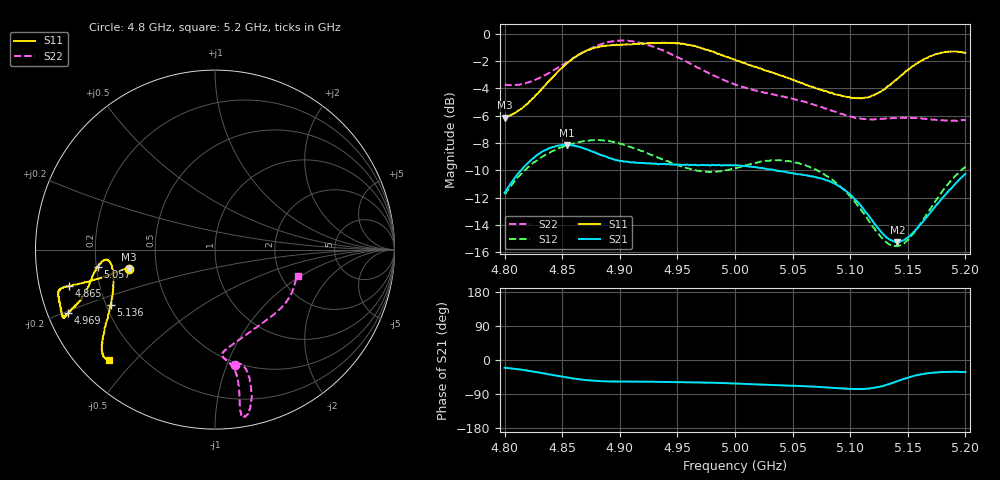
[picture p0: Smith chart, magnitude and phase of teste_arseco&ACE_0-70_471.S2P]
! Network Analyzer HP8722D
! Hewlett-Packard
! Data name: Linha & Wilkinson
! Saver's name: Rodrigo Anjos
! Comments: Teste da utilização de aquisição
! continua pelo VNA HP8722D
! Time and date: 8/5/2025 16:41
!  Frequency  S11  S21  S12  S22
# HZ  S  MA R 50
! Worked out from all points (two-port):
!   401 points, 4.8 GHz to 5.2 GHz, reference 50 ohm
!   highest |S21| = -8.13 dB at 4.854 GHz (marker M1); lowest = -15.3 dB at 5.141 GHz (marker M2)
!   |S21| within 3 dB of the highest: 4.804 GHz to 5.09 GHz (285.9 MHz wide, 5.78 % of centre); 5.189642 GHz to end of sweep
!   lowest |S11| = -6.1 dB at 4.8 GHz (marker M3), VSWR 2.95, Z = 17.2 - j4.89 ohm
!   |S11| at or under -10 dB: nowhere
!   |S22| runs from -6.4 to -0.5 dB; largest |S21 - S12| = 0.62
!   S11 on the Smith chart (normalised r, x): 4.8 GHz: 0.34, -0.10; 4.865 GHz: 0.09, -0.12; 4.969 GHz: 0.06, -0.21; 5.057 GHz: 0.20, -0.07; 5.136 GHz: 0.22, -0.24; 5.2 GHz: 0.09, -0.42
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4.8e9  0.4931 -167.4  0.2619 -20.5  0.258 -141.9  0.6516 -80.1
4.828e9  0.6022 -166.6  0.3598 -32.0  0.3433 -146.2  0.6836 -75.7
4.854e9  0.7794 -165.9  0.3921 -46.2  0.3906 -151.0  0.7864 -75.3
4.865e9  0.841 -166.0  0.3855 -51.1  0.402 -152.7  0.8394 -75.9
4.867e9  0.8521 -166.0  0.3837 -52.0  0.4032 -152.9  0.849 -76.1
4.881e9  0.8961 -165.5  0.3639 -55.5  0.4084 -155.2  0.907 -77.6
4.899e9  0.9091 -163.0  0.3431 -57.0  0.3973 -157.2  0.9442 -79.8
4.934e9  0.925 -156.7  0.333 -57.7  0.3512 -155.9  0.8797 -81.0
4.969e9  0.8907 -156.6  0.3299 -59.3  0.3147 -147.5  0.7486 -80.1
5e9  0.8042 -159.3  0.3297 -62.2  0.322 -137.7  0.6511 -81.8
5.033e9  0.7202 -165.3  0.3181 -66.2  0.3437 -135.0  0.5998 -85.8
5.057e9  0.6617 -171.5  0.3058 -68.7  0.3339 -136.8  0.5685 -85.0
5.067e9  0.6389 -173.4  0.3007 -70.0  0.3233 -137.6  0.5529 -82.7
5.084e9  0.6096 -174.6  0.2867 -73.2  0.2931 -139.2  0.5234 -75.9
5.101e9  0.5824 -171.5  0.2561 -76.3  0.2509 -139.3  0.4972 -65.8
5.116e9  0.5872 -164.3  0.2158 -75.5  0.207 -135.2  0.4865 -54.9
5.134e9  0.646 -153.2  0.1764 -63.3  0.1692 -118.8  0.4905 -42.8
5.136e9  0.6567 -152.2  0.1754 -61.2  0.1675 -116.2  0.4915 -41.7
5.141e9  0.6845 -149.5  0.1727 -55.8  0.1669 -109.6  0.4927 -38.8
5.153e9  0.7532 -144.7  0.1845 -43.9  0.1819 -94.8  0.4917 -32.6
5.172e9  0.8345 -139.0  0.2281 -33.5  0.2369 -81.1  0.4847 -24.5
5.2e9  0.8519 -133.8  0.3071 -31.9  0.3265 -77.6  0.4835 -17.6
